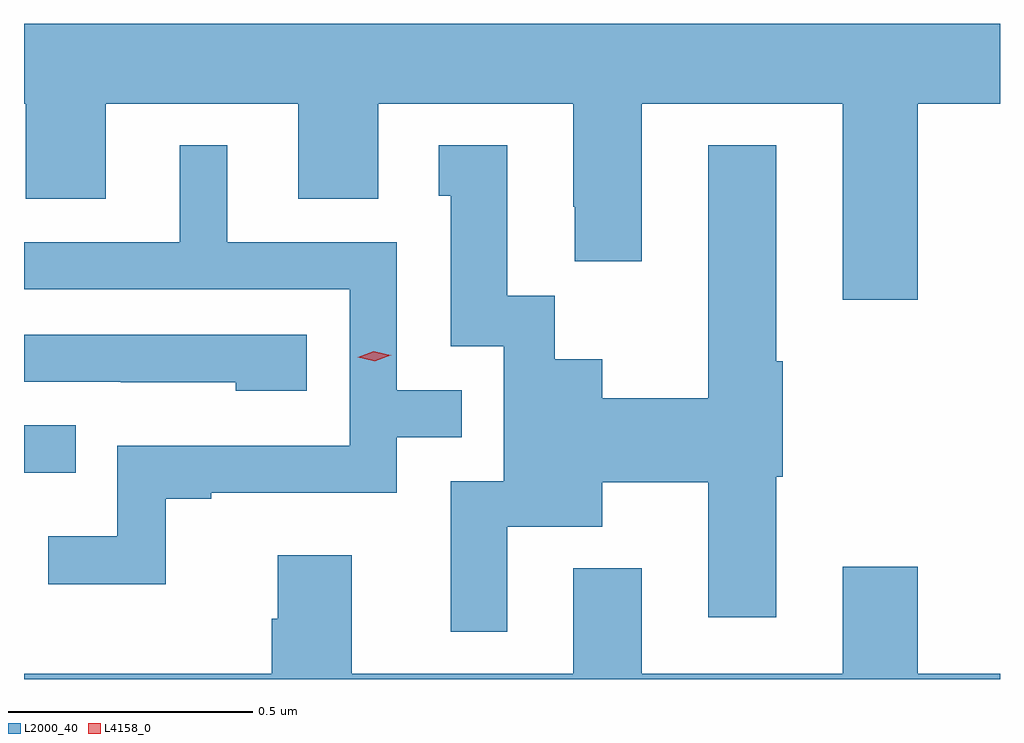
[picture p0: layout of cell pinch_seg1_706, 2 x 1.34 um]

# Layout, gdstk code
import gdstk
lib = gdstk.Library(unit=1e-6, precision=1e-09)
def R(c, l, rs):  # rectangles x0, y0, x1, y1
    for r in rs: c.add(gdstk.rectangle(r[:2], r[2:], *l))
def P(c, l, *ps):  # polygons
    for p in ps: c.add(gdstk.Polygon(p, *l))
L2000_40 = (2000, 40)
L4158_0 = (4158, 0)

pinch_seg1_706 = lib.new_cell('pinch_seg1_706')
R(pinch_seg1_706, L2000_40, [(746.623,569.624,746.729,569.721)])
P(pinch_seg1_706, L2000_40, [(748.454,570.38),(748.623,570.38),(748.623,570.544),(746.623,570.544),(746.623,570.38),(746.627,570.38),(746.627,570.186),(746.791,570.186),(746.791,570.38),(747.185,570.38),(747.185,570.186),(747.349,570.186),(747.349,570.38),(747.749,570.38),(747.749,570.169),(747.752,570.169),(747.752,570.057),(747.889,570.057),(747.889,570.38),(748.301,570.38),(748.301,569.979),(748.454,569.979)],
  [(747.613,569.513),(747.808,569.513),(747.808,569.605),(748.025,569.605),(748.025,569.328),(748.165,569.328),(748.165,569.616),(748.178,569.616),(748.178,569.853),(748.165,569.853),(748.165,570.295),(748.025,570.295),(748.025,569.777),(747.808,569.777),(747.808,569.857),(747.711,569.857),(747.711,569.987),(747.613,569.987),(747.613,570.295),(747.473,570.295),(747.473,570.192),(747.497,570.192),(747.497,569.883),(747.606,569.883),(747.606,569.607),(747.497,569.607),(747.497,569.298),(747.613,569.298)],
  [(746.913,569.571),(747.007,569.571),(747.007,569.583),(747.387,569.583),(747.387,569.697),(747.52,569.697),(747.52,569.793),(747.387,569.793),(747.387,570.096),(747.04,570.096),(747.04,570.295),(746.942,570.295),(746.942,570.096),(746.623,570.096),(746.623,570),(747.291,570),(747.291,569.679),(746.814,569.679),(746.814,569.494),(746.673,569.494),(746.673,569.396),(746.913,569.396)],
  [(747.202,569.907),(746.623,569.907),(746.623,569.811),(746.821,569.811),(746.821,569.81),(747.057,569.81),(747.057,569.792),(747.202,569.792)],
  [(748.623,569.212),(748.454,569.212),(748.454,569.431),(748.301,569.431),(748.301,569.212),(747.889,569.212),(747.889,569.428),(747.749,569.428),(747.749,569.212),(747.295,569.212),(747.295,569.455),(747.143,569.455),(747.143,569.325),(747.131,569.325),(747.131,569.212),(746.623,569.212),(746.623,569.201),(748.623,569.201)])
P(pinch_seg1_706, L4158_0, [(747.342,569.853),(747.307,569.861),(747.306,569.861),(747.307,569.861),(747.34,569.873),(747.375,569.865),(747.376,569.865),(747.375,569.865)])

lib.write_gds('pinch_seg1_706.gds')
